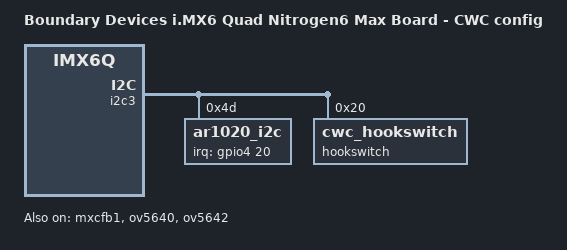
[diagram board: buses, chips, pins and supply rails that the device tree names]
/*
 * Copyright 2013 Boundary Devices
 * Copyright 2012 Freescale Semiconductor, Inc.
 * Copyright 2011 Linaro Ltd.
 *
 * The code contained herein is licensed under the GNU General Public
 * License. You may obtain a copy of the GNU General Public License
 * Version 2 or later at the following locations:
 *
 * http://www.opensource.org/licenses/gpl-license.html
 * http://www.gnu.org/copyleft/gpl.html
 */

/dts-v1/;

#include <dt-bindings/interrupt-controller/irq.h>
#include "imx6q.dtsi"
#include "imx6qdl-nitrogen6_max.dtsi"

/ {
	model = "Boundary Devices i.MX6 Quad Nitrogen6 Max Board - CWC config";
	compatible = "fsl,imx6q-nitrogen6_max", "fsl,imx6q";
};

&hdmi_core {
	status = "disabled";
};

&mxcfb1 {
	status = "okay";
};

&ov5640 {
	ipu_id = <1>;
	csi_id = <1>;
	status = "okay";
};

&ov5640_mipi {
	status = "disabled";
};

&ov5642 {
	ipu_id = <0>;
	csi_id = <0>;
	status = "okay";
};

&pinctrl_ov5640 { /* parallel camera */
	fsl,pins = <
		MX6QDL_PAD_EIM_A17__IPU2_CSI1_DATA12	0xb0b1
		MX6QDL_PAD_EIM_A18__IPU2_CSI1_DATA13	0xb0b1
		MX6QDL_PAD_EIM_A19__IPU2_CSI1_DATA14	0xb0b1
		MX6QDL_PAD_EIM_A20__IPU2_CSI1_DATA15	0xb0b1
		MX6QDL_PAD_EIM_A21__IPU2_CSI1_DATA16	0xb0b1
		MX6QDL_PAD_EIM_A22__IPU2_CSI1_DATA17	0xb0b1
		MX6QDL_PAD_EIM_A23__IPU2_CSI1_DATA18	0xb0b1
		MX6QDL_PAD_EIM_EB2__IPU2_CSI1_DATA19	0xb0b1
		MX6QDL_PAD_EIM_DA10__IPU2_CSI1_DATA_EN	0xb0b1
		MX6QDL_PAD_EIM_A16__IPU2_CSI1_PIXCLK	0xb0b1
		MX6QDL_PAD_EIM_DA11__IPU2_CSI1_HSYNC	0xb0b1
		MX6QDL_PAD_EIM_DA12__IPU2_CSI1_VSYNC	0xb0b1
	>;
};

&sata {
	status = "disabled";
};

/ {
	/delete-node/ v4l2_cap_2;
	v4l2_cap_0 {
		compatible = "fsl,imx6q-v4l2-capture";
		ipu_id = <0>;
		csi_id = <0>;
		mipi_camera = <0>;
		status = "okay" ;
	};

	v4l2_cap_1 {
		compatible = "fsl,imx6q-v4l2-capture";
		ipu_id = <1>;
		csi_id = <1>;
		mipi_camera = <0>;
		status = "okay" ;
	};
};

&flexcan1 {
	status = "disabled" ;
};

&i2c3 {
	inter-byte-delay = <170>;
	stop-delay = <30>;

	/delete-node/ egalax_ts@04;
	/delete-node/ ft5x06_ts@38;
	/delete-node/ ili210x@41;
	/delete-node/ tsc2004@48;

	ar1020_i2c@4d {
		compatible = "ar1020_i2c";
		reg = <0x4d>;
		interrupt-parent = <&gpio4>;
		interrupts = <20 IRQ_TYPE_LEVEL_LOW>;
		status = "okay";
	};

	hookswitch@20 {
		compatible = "cwc_hookswitch";
		reg = <0x20>;
		status = "okay";
	};
};
